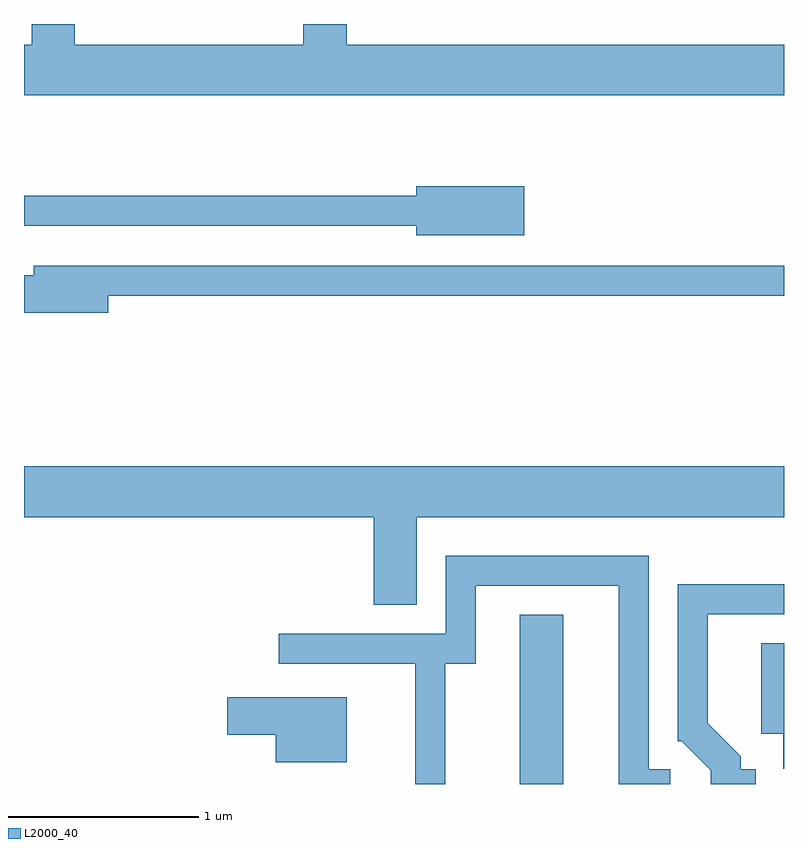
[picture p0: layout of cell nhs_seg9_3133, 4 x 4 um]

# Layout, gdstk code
import gdstk
lib = gdstk.Library(unit=1e-6, precision=1e-09)
def R(c, l, rs):  # rectangles x0, y0, x1, y1
    for r in rs: c.add(gdstk.rectangle(r[:2], r[2:], *l))
def P(c, l, *ps):  # polygons
    for p in ps: c.add(gdstk.Polygon(p, *l))
L2000_40 = (2000, 40)

nhs_seg9_3133 = lib.new_cell('nhs_seg9_3133')
R(nhs_seg9_3133, L2000_40, [(280.221,1970.432,280.449,1971.324)])
P(nhs_seg9_3133, L2000_40, [(281.611,1974.324),(279.309,1974.324),(279.309,1974.432),(279.081,1974.432),(279.081,1974.324),(277.879,1974.324),(277.879,1974.432),(277.651,1974.432),(277.651,1974.324),(277.611,1974.324),(277.611,1974.056),(281.611,1974.056)],
  [(280.244,1973.579),(279.676,1973.579),(279.676,1973.529),(277.611,1973.529),(277.611,1973.371),(279.676,1973.371),(279.676,1973.321),(280.244,1973.321)],
  [(278.054,1973.001),(281.611,1973.001),(281.611,1973.159),(277.661,1973.159),(277.661,1973.109),(277.611,1973.109),(277.611,1972.911),(278.054,1972.911)],
  [(279.679,1971.836),(281.611,1971.836),(281.611,1972.104),(277.611,1972.104),(277.611,1971.836),(279.451,1971.836),(279.451,1971.376),(279.679,1971.376)],
  [(279.829,1971.066),(279.989,1971.066),(279.989,1971.476),(280.741,1971.476),(280.741,1970.432),(281.013,1970.432),(281.013,1970.509),(280.899,1970.509),(280.899,1971.634),(279.831,1971.634),(279.831,1971.224),(278.953,1971.224),(278.953,1971.066),(279.671,1971.066),(279.671,1970.432),(279.829,1970.432)],
  [(281.463,1970.509),(281.384,1970.509),(281.384,1970.577),(281.209,1970.752),(281.209,1971.326),(281.611,1971.326),(281.611,1971.484),(281.051,1971.484),(281.051,1970.656),(281.074,1970.656),(281.226,1970.504),(281.226,1970.432),(281.463,1970.432)],
  [(281.611,1971.174),(281.491,1971.174),(281.491,1970.696),(281.606,1970.696),(281.606,1970.511),(281.611,1970.511)],
  [(279.309,1970.889),(278.681,1970.889),(278.681,1970.691),(278.936,1970.691),(278.936,1970.546),(279.309,1970.546)])

lib.write_gds('nhs_seg9_3133.gds')
